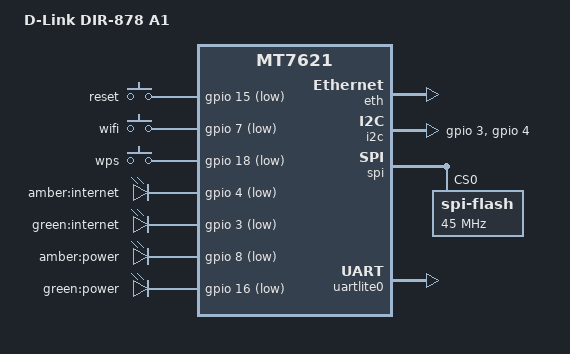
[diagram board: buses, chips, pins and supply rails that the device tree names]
// SPDX-License-Identifier: GPL-2.0+

/dts-v1/;
#include "mt7621.dtsi"

#include <dt-bindings/gpio/gpio.h>
#include <dt-bindings/input/input.h>

/ {
	model = "D-Link DIR-878 A1";
	compatible = "dlink,dir-878-a1", "mediatek,mt7621-soc";

	aliases {
		spi0 = &spi;
	};

	chosen {
		stdout-path = &uartlite0;
	};

	config {
		reset-button = "reset";
		wps-button = "wps";
		status1-led = "green:power";
		status2-led = "amber:power";
	};

	keys {
		compatible = "gpio-keys";

		reset {
			label = "reset";
			gpios = <&gpio 15 GPIO_ACTIVE_LOW>;
			linux,code = <KEY_RESTART>;
		};

		wifi {
			label = "wifi";
			gpios = <&gpio 7 GPIO_ACTIVE_LOW>;
			linux,code = <KEY_RFKILL>;
		};

		wps {
			label = "wps";
			gpios = <&gpio 18 GPIO_ACTIVE_LOW>;
			linux,code = <KEY_WPS_BUTTON>;
		};
	};

	leds {
		compatible = "gpio-leds";

		led-internet_amber {
			label = "amber:internet";
			gpios = <&gpio 4 GPIO_ACTIVE_LOW>;
			default-state = "off";
		};

		led-internet_green {
			label = "green:internet";
			gpios = <&gpio 3 GPIO_ACTIVE_LOW>;
			default-state = "off";
		};

		led-power_amber {
			label = "amber:power";
			gpios = <&gpio 8 GPIO_ACTIVE_LOW>;
			default-state = "off";
		};

		led-power_green {
			label = "green:power";
			gpios = <&gpio 16 GPIO_ACTIVE_LOW>;
			default-state = "on";
		};
	};
};

&eth {
	status = "okay";
};

&gpio {
	status = "okay";
};

&i2c {
	gpios = <&gpio 3 1>, /* PIN3 as SDA */
		<&gpio 4 1>; /* PIN4 as CLK */
};

&spi {
	status = "okay";

	spi-max-frequency = <45000000>;

	spi-flash@0 {
		#address-cells = <1>;
		#size-cells = <1>;
		compatible = "spi-flash";
		spi-max-frequency = <45000000>;
		reg = <0>;
	};
};

&state_default {
	/delete-node/ rgmii2-gpio_pins;
	/delete-node/ spi-nand_pins;
	/delete-node/ sdhci-nand_pins;
};

&uartlite0 {
	status = "okay";
};
